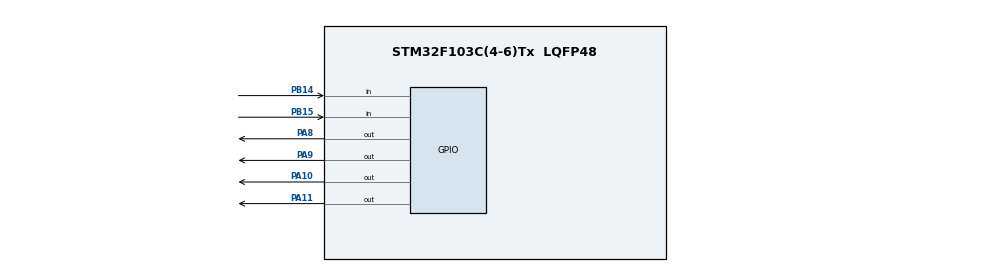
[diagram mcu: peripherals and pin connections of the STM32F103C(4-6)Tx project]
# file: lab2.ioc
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Mcu.Family=STM32F1
Mcu.Name=STM32F103C(4-6)Tx
Mcu.Package=LQFP48
NVIC.PriorityGroup=NVIC_PRIORITYGROUP_4
PA10.Signal=GPIO_Output
PA11.Signal=GPIO_Output
PA8.Signal=GPIO_Output
PA9.Signal=GPIO_Output
PB14.Signal=GPIO_Input
PB15.Signal=GPIO_Input
ProjectManager.HeapSize=0x200
ProjectManager.StackSize=0x400
ProjectManager.TargetToolchain=STM32CubeIDE
RCC.APB1Freq_Value=8000000
RCC.APB2Freq_Value=8000000
VP_SYS_VS_ND.Mode=No_Debug
board=custom

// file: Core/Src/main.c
/* USER CODE BEGIN Header */
/**
  ******************************************************************************
  * @file           : main.c
  * @brief          : Main program body
  ******************************************************************************
  * @attention
  *
  * <h2><center>&copy; Copyright (c) 2021 STMicroelectronics.
  * All rights reserved.</center></h2>
  *
  * This software component is licensed by ST under BSD 3-Clause license,
  * the "License"; You may not use this file except in compliance with the
  * License. You may obtain a copy of the License at:
  *                        opensource.org/licenses/BSD-3-Clause
  *
  ******************************************************************************
  */
/* USER CODE END Header */
#include "main.h"
#include "gpio.h"

void SystemClock_Config(void);

int main(void)
{

  /* MCU Configuration--------------------------------------------------------*/

  /* Reset of all peripherals, Initializes the Flash interface and the Systick. */
  HAL_Init();

  /* Configure the system clock */
  SystemClock_Config();

  /* Initialize all configured peripherals */
  MX_GPIO_Init();
  /* USER CODE BEGIN 2 */

  HAL_GPIO_TogglePin(GPIOA, GPIO_PIN_8);
  HAL_GPIO_TogglePin(GPIOA, GPIO_PIN_9);
  HAL_GPIO_TogglePin(GPIOA, GPIO_PIN_10);
  HAL_GPIO_TogglePin(GPIOA, GPIO_PIN_11);
  /* USER CODE END 2 */

  /* Infinite loop */
  /* USER CODE BEGIN WHILE */
  while (1)
  {
	  if(HAL_GPIO_ReadPin(GPIOB, GPIO_PIN_15)==GPIO_PIN_RESET){
		  HAL_GPIO_TogglePin(GPIOA, GPIO_PIN_8);
		  HAL_Delay(300);
		  HAL_GPIO_TogglePin(GPIOA, GPIO_PIN_9);
		  HAL_Delay(300);
		  HAL_GPIO_TogglePin(GPIOA, GPIO_PIN_10);
		  HAL_Delay(300);
		  HAL_GPIO_TogglePin(GPIOA, GPIO_PIN_11);
		  HAL_Delay(300);
		  HAL_GPIO_TogglePin(GPIOA, GPIO_PIN_8);
		  HAL_Delay(300);
		  HAL_GPIO_TogglePin(GPIOA, GPIO_PIN_9);
		  HAL_Delay(300);
		  HAL_GPIO_TogglePin(GPIOA, GPIO_PIN_10);
		  HAL_Delay(300);
		  HAL_GPIO_TogglePin(GPIOA, GPIO_PIN_11);
		  HAL_Delay(300);
	  }

	  if(HAL_GPIO_ReadPin(GPIOB, GPIO_PIN_14)==GPIO_PIN_RESET){
	  	  HAL_GPIO_TogglePin(GPIOA, GPIO_PIN_8);
	  	  HAL_Delay(300);
	  	  HAL_GPIO_TogglePin(GPIOA, GPIO_PIN_8);
	  	  HAL_Delay(300);
	  	  HAL_GPIO_TogglePin(GPIOA, GPIO_PIN_9);
	  	  HAL_Delay(300);
	  	  HAL_GPIO_TogglePin(GPIOA, GPIO_PIN_9);
	  	  HAL_Delay(300);
	  	  HAL_GPIO_TogglePin(GPIOA, GPIO_PIN_10);
	  	  HAL_Delay(300);
	  	  HAL_GPIO_TogglePin(GPIOA, GPIO_PIN_10);
	  	  HAL_Delay(300);
	  	  HAL_GPIO_TogglePin(GPIOA, GPIO_PIN_11);
	  	  HAL_Delay(300);
	  	  HAL_GPIO_TogglePin(GPIOA, GPIO_PIN_11);
	  	  HAL_Delay(300);
	  }
    /* USER CODE END WHILE */

  }
}

void SystemClock_Config(void)
{
  RCC_OscInitTypeDef RCC_OscInitStruct = {0};
  RCC_ClkInitTypeDef RCC_ClkInitStruct = {0};

  /** Initializes the RCC Oscillators according to the specified parameters
  * in the RCC_OscInitTypeDef structure.
  */
  RCC_OscInitStruct.OscillatorType = RCC_OSCILLATORTYPE_HSI;
  RCC_OscInitStruct.HSIState = RCC_HSI_ON;
  RCC_OscInitStruct.HSICalibrationValue = RCC_HSICALIBRATION_DEFAULT;
  RCC_OscInitStruct.PLL.PLLState = RCC_PLL_NONE;
  if (HAL_RCC_OscConfig(&RCC_OscInitStruct) != HAL_OK)
  {
    Error_Handler();
  }
  /** Initializes the CPU, AHB and APB buses clocks
  */
  RCC_ClkInitStruct.ClockType = RCC_CLOCKTYPE_HCLK|RCC_CLOCKTYPE_SYSCLK
                              |RCC_CLOCKTYPE_PCLK1|RCC_CLOCKTYPE_PCLK2;
  RCC_ClkInitStruct.SYSCLKSource = RCC_SYSCLKSOURCE_HSI;
  RCC_ClkInitStruct.AHBCLKDivider = RCC_SYSCLK_DIV1;
  RCC_ClkInitStruct.APB1CLKDivider = RCC_HCLK_DIV1;
  RCC_ClkInitStruct.APB2CLKDivider = RCC_HCLK_DIV1;

  if (HAL_RCC_ClockConfig(&RCC_ClkInitStruct, FLASH_LATENCY_0) != HAL_OK)
  {
    Error_Handler();
  }
}

void Error_Handler(void)
{
  __disable_irq();
  while (1)
  {
  }
}

/************************ (C) COPYRIGHT STMicroelectronics *****END OF FILE****/
